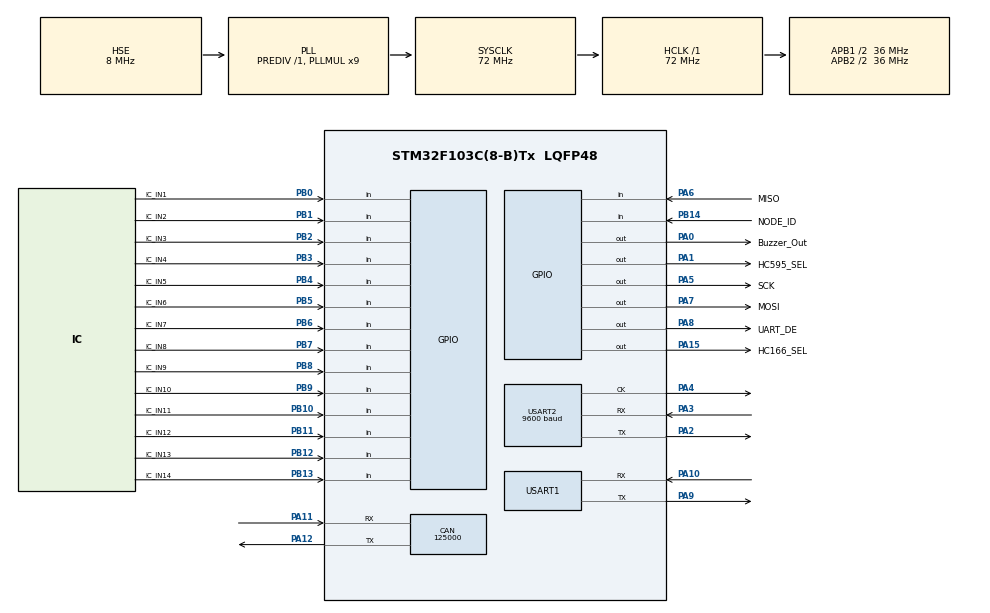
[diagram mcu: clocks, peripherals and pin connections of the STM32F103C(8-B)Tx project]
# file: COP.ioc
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CAN.BS1=CAN_BS1_15TQ
CAN.BS2=CAN_BS2_2TQ
CAN.CalculateBaudRate=125000
CAN.CalculateTimeBit=8000
CAN.CalculateTimeQuantum=444.44444444444446
CAN.NART=ENABLE
Dma.Request0=USART2_TX
Dma.USART2_TX.0.Direction=DMA_MEMORY_TO_PERIPH
Dma.USART2_TX.0.Instance=DMA1_Channel7
Dma.USART2_TX.0.MemDataAlignment=DMA_MDATAALIGN_BYTE
Dma.USART2_TX.0.MemInc=DMA_MINC_ENABLE
Dma.USART2_TX.0.Mode=DMA_NORMAL
Dma.USART2_TX.0.PeriphDataAlignment=DMA_PDATAALIGN_BYTE
Dma.USART2_TX.0.PeriphInc=DMA_PINC_DISABLE
Dma.USART2_TX.0.Priority=DMA_PRIORITY_LOW
Mcu.Family=STM32F1
Mcu.Name=STM32F103C(8-B)Tx
Mcu.Package=LQFP48
NVIC.CAN1_RX1_IRQn=true\:0\:0\:false\:false\:true\:true\:true
NVIC.CAN1_SCE_IRQn=true\:0\:0\:false\:false\:true\:true\:true
NVIC.DMA1_Channel7_IRQn=true\:0\:0\:false\:false\:true\:false\:true
NVIC.PriorityGroup=NVIC_PRIORITYGROUP_4
NVIC.TIM1_BRK_IRQn=true\:0\:0\:false\:false\:true\:true\:true
NVIC.TIM1_UP_IRQn=true\:0\:0\:false\:false\:true\:true\:true
NVIC.TIM2_IRQn=true\:0\:0\:false\:false\:true\:true\:true
NVIC.USART2_IRQn=true\:0\:0\:false\:false\:true\:true\:true
NVIC.USB_HP_CAN1_TX_IRQn=true\:0\:0\:false\:false\:true\:true\:true
NVIC.USB_LP_CAN1_RX0_IRQn=true\:0\:0\:false\:false\:true\:true\:true
PA0-WKUP.GPIO_Label=Buzzer_Out
PA0-WKUP.Signal=GPIO_Output
PA1.GPIO_Label=HC595_SEL
PA1.Signal=GPIO_Output
PA10.Mode=Asynchronous
PA10.Signal=USART1_RX
PA11.Mode=CAN_Activate
PA11.Signal=CAN_RX
PA12.Mode=CAN_Activate
PA12.Signal=CAN_TX
PA13.Mode=Serial_Wire
PA13.Signal=SYS_JTMS-SWDIO
PA14.Mode=Serial_Wire
PA14.Signal=SYS_JTCK-SWCLK
PA15.GPIO_Label=HC166_SEL
PA15.Signal=GPIO_Output
PA2.Mode=Synchronous
PA2.Signal=USART2_TX
PA3.Mode=Synchronous
PA3.Signal=USART2_RX
PA4.Mode=Synchronous
PA4.Signal=USART2_CK
PA5.GPIO_Label=SCK
PA5.GPIO_Speed=GPIO_SPEED_FREQ_HIGH
PA5.Signal=GPIO_Output
PA6.GPIO_Label=MISO
PA6.Signal=GPIO_Input
PA7.GPIO_Label=MOSI
PA7.Signal=GPIO_Output
PA8.GPIO_Label=UART_DE
PA8.Signal=GPIO_Output
PA9.Mode=Asynchronous
PA9.Signal=USART1_TX
PB0.GPIO_Label=IC_IN1
PB0.Signal=GPIO_Input
PB1.GPIO_Label=IC_IN2
PB1.Signal=GPIO_Input
PB10.GPIO_Label=IC_IN11
PB10.Signal=GPIO_Input
PB11.GPIO_Label=IC_IN12
PB11.Signal=GPIO_Input
PB12.GPIO_Label=IC_IN13
PB12.Signal=GPIO_Input
PB13.GPIO_Label=IC_IN14
PB13.Signal=GPIO_Input
PB14.GPIO_Label=NODE_ID
PB14.GPIO_PuPd=GPIO_PULLUP
PB14.Signal=GPIO_Input
PB2.GPIO_Label=IC_IN3
PB2.Signal=GPIO_Input
PB3.GPIO_Label=IC_IN4
PB3.Signal=GPIO_Input
PB4.GPIO_Label=IC_IN5
PB4.Signal=GPIO_Input
PB5.GPIO_Label=IC_IN6
PB5.Signal=GPIO_Input
PB6.GPIO_Label=IC_IN7
PB6.Signal=GPIO_Input
PB7.GPIO_Label=IC_IN8
PB7.Signal=GPIO_Input
PB8.GPIO_Label=IC_IN9
PB8.Signal=GPIO_Input
PB9.GPIO_Label=IC_IN10
PB9.Signal=GPIO_Input
PD0-OSC_IN.Mode=HSE-External-Oscillator
PD0-OSC_IN.Signal=RCC_OSC_IN
PD1-OSC_OUT.Mode=HSE-External-Oscillator
PD1-OSC_OUT.Signal=RCC_OSC_OUT
ProjectManager.HeapSize=0x2000
ProjectManager.StackSize=0x4000
ProjectManager.TargetToolchain=STM32CubeIDE
RCC.AHBFreq_Value=72000000
RCC.APB1CLKDivider=RCC_HCLK_DIV2
RCC.APB1Freq_Value=36000000
RCC.APB1TimFreq_Value=72000000
RCC.APB2CLKDivider=RCC_HCLK_DIV2
RCC.APB2Freq_Value=36000000
RCC.APB2TimFreq_Value=72000000
RCC.HCLKFreq_Value=72000000
RCC.PLLMUL=RCC_PLL_MUL9
RCC.PLLSourceVirtual=RCC_PLLSOURCE_HSE
RCC.SYSCLKFreq_VALUE=72000000
RCC.SYSCLKSource=RCC_SYSCLKSOURCE_PLLCLK
RCC.USBFreq_Value=72000000
TIM1.Period=99
TIM1.Prescaler=7199
TIM2.Period=4999
TIM2.Prescaler=7199
TIM3.Prescaler=71
USART1.VirtualMode=VM_ASYNC
USART2.BaudRate=9600
USART2.CLKPhase=USART_PHASE_2EDGE
USART2.VirtualMode=VM_SYNC
VP_TIM1_VS_ClockSourceINT.Mode=Internal
VP_TIM2_VS_ClockSourceINT.Mode=Internal
VP_TIM3_VS_ClockSourceINT.Mode=Internal
board=custom

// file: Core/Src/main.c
/* USER CODE BEGIN Header */
/**
  ******************************************************************************
  * @file           : main.c
  * @brief          : Main program body
  ******************************************************************************
  * @attention
  *
  * <h2><center>&copy; Copyright (c) 2021 STMicroelectronics.
  * All rights reserved.</center></h2>
  *
  * This software component is licensed by ST under BSD 3-Clause license,
  * the "License"; You may not use this file except in compliance with the
  * License. You may obtain a copy of the License at:
  *                        opensource.org/licenses/BSD-3-Clause
  *
  ******************************************************************************
  */
/* USER CODE END Header */
#include "main.h"

/* USER CODE BEGIN Includes */
#define	_MAIN_C_
#include "AllHeader.h"
#include "flash.h"
#include "stdio.h"
#include "stdlib.h"
/* USER CODE END Includes */

/* USER CODE BEGIN PD */
#define MAXLONGVALUE 2000000000;
#define MAXKEYBUFF          	2
#define KEYTIMOUT            1500				//ms
#define LEDTIMEOUT     500						//ms

#define USER_DEBUG 0

int Keytimout = INT32_MAX;
uint32_t lastest_call_time;
int LedOfftimout = INT32_MAX;

/* USER CODE END PD */

CAN_HandleTypeDef hcan;

TIM_HandleTypeDef htim1;
TIM_HandleTypeDef htim2;
TIM_HandleTypeDef htim3;

UART_HandleTypeDef huart1;
USART_HandleTypeDef husart2;
DMA_HandleTypeDef hdma_usart2_tx;

void SystemClock_Config(void);
static void MX_GPIO_Init(void);
static void MX_CAN_Init(void);
static void MX_TIM1_Init(void);
static void MX_TIM2_Init(void);
static void MX_USART1_UART_Init(void);
static void MX_TIM3_Init(void);
static void MX_DMA_Init(void);
static void MX_USART2_Init(void);

/* USER CODE BEGIN 0 */
uint8_t instate[MAX_IN_BYTE];
uint8_t instate_Pre[MAX_IN_BYTE];
uint32_t inold_Pre;
uint8_t help;
uint8_t virt_key[2] = {0,0};
uint8_t virt_key_cnt =0;

uint32_t TIM1_inter,TIM2_inter;
uint32_t TIM1_inter_store,TIM2_inter_store;
uint32_t time10ms,time500ms =0;
char FloorName[TOTAL_FLOOR][2] ={0};
char IOName[13] ={'0','1','2','3','4','5','6','7','8','9','G','B','C'};

uint8_t targetfloor =0;
uint8_t targetfloor_reg =0;
uint16_t Led_virt = 0xFFFF;

static uint32_t time1_cnt = 0;

uint32_t inspection_time;
void HAL_TIM_PeriodElapsedCallback(TIM_HandleTypeDef *htim)
{
	uint8_t i = 0;

	static uint32_t time0_cnt = 0;
	static uint32_t reloadtime =0;
	if(htim->Instance == htim1.Instance)
	{
		bTime.Time_10ms = 1;
		time1_cnt++;
		time10ms = HAL_GetTick() - reloadtime;
		reloadtime = HAL_GetTick();
		Keytimout --;
		LedOfftimout --;
		if((time1_cnt % 10) == 0)
			{//100ms
				bTime.Time_100ms = 1;
				if (bBusOffTimer)
					-- bBusOffTimer;
				else
					{
						if(bFunc.buz_set_id)
							{
								Disable_BUZ();
								bFunc.buz_set_id = 0;
							}
					}
			}
		if((time1_cnt % 200) == 0)
			bTime.Time_2s = 1;
	}
	else if(htim->Instance == htim2.Instance)
	{
					bTime.Time_500ms = true;
					bTime.flash_floor_500ms = true;
					time0_cnt++;

					if (!nmtstate)						// only during Boot up
						{
							if (nmtwait)					// waiting time for first heartbeat
								nmtwait--;
						}
					if (heartbeat)						// decrement heartbeat timer
						heartbeat--;

					if (sdo_timer)			// check for SDO transfer time out
						sdo_timer--;
					if (hsetime)
						{
							hsetime--;
							if (!hsetime) 		// HSE heartbeat time out
								bFunc.hsecheck = true; 	// HSE check necessary
						}
					if((time0_cnt % 10) == 0)
						bTime.Time_5s = 1;
					if(att_alarm_timer)
						{
							--att_alarm_timer;
							if(!att_alarm_timer)
								{
									if(bTime.Time_alarm_fg)
										buzzer &= ~BUZ_WORKING;
									bFunc.buz_state = !bFunc.buz_state;
								}
						}
					if(buz_alarm_totaltimer)
						--buz_alarm_totaltimer;

					for (i = 0; i < mInOut_Number; i++)
						{// search output parameter list
							if (outpar [i][IO_BASIC_FUNC] == ARRIVAL_INDICATION)
							if (outpar [i][IO_ACK])
								{// arrival indication is on, ������������ź�
									outpar [i][IO_ACK]--; 			//decrement time counter
									if (!outpar [i][IO_ACK])		//time out
										{
											bit_reset (out[i/8], i % 8);			// switch off output
											outpar [i][IO_STATE] = 0;
										}
								}
						}

	}
}
void check_hse (uint8_t mode){
	uint8_t help;
	uint8_t i;

	help = 0;
	if (!hsetime)								/* 5s no heartbeat from HSE				*/
		{
			help = 1;
			hsetime  = HSETIME;						/* restart HSE heartbeat timer			*/
			display[BUF_TEN] = 'N';			//A_BETR;
			display[BUF_UNIT] = 'C';		//A_BETR;
			display[BUF_ARROW] = 0;
			display[BUF_MESSAGE] = 0;
			hse_heartbeat = 0;
			mDisp_buf[BUF_TEN + 1] = display[BUF_TEN];
			mDisp_buf[BUF_UNIT + 1] = display[BUF_UNIT];
			mDisp_buf[BUF_ARROW + 1] = display[BUF_ARROW];
		}

	if (help && mode)											/* one or more HSE not available		*/
		{
			for (i = 0; i < mInOut_Number; i++)					/* check all call indications			*/
				{
					if (check_for_call (outpar [i][IO_BASIC_FUNC]))
						{											/* output is call acknowledgement		*/
				  		outpar [i][IO_ACK] &= ~help;
							if (!outpar [i][IO_ACK])				/* all acknowledgements cancelled		*/
								{
									bit_reset (out[i/8], i%8);					/* clear output							*/
									outpar [i][IO_STATE] = 0;
								}
						}
					else										/* all other output functions			*/
						{
							if (outpar [i][IO_LIFT] & help)			/* output for this lift					*/
								{
									if ((outpar [i][IO_BASIC_FUNC] == SPECIAL_FUNC) &&
									    (outpar [i][IO_SUB_FUNC]	  == OUT_OF_ORDER))
										{
											bit_set (out[i/8], i%8);				/* set physical output					*/
					 						outpar [i][IO_STATE] = 1;
										}
									else
										{
											bit_reset (out[i/8], i%8);				/* reset physical output				*/
											outpar [i][IO_STATE] = 0;
										}
								}
						}
				}
		}
}
void ClrWdt (void)
{
#if ! USER_DEBUG
	HAL_IWDG_Refresh(&hiwdg);
	HAL_WWDG_Refresh(&hwwdg);
#endif
}
int Find_target_Floor(int len)
{
	if(len ==1)
	{
		virt_key[1] = virt_key[0];
		virt_key[0] = 0;
	}
	else
	{
		if(virt_key[0] == '0')
			virt_key[0] =0;
	}
	for(int icc=0;icc<TOTAL_FLOOR;icc++)
	{
		if((FloorName[icc][0] == virt_key[0]) && (FloorName[icc][1] == virt_key[1]) )
		{
			targetfloor = icc+1;
			return targetfloor;
		}
	}
	return -1;
}
uint8_t checkwatchdog =0;
/* USER CODE END 0 */

int main(void)
{

  /* MCU Configuration--------------------------------------------------------*/

  /* Reset of all peripherals, Initializes the Flash interface and the Systick. */
  HAL_Init();

  /* Configure the system clock */
  SystemClock_Config();

  /* Initialize all configured peripherals */
  MX_GPIO_Init();
  MX_CAN_Init();
  MX_TIM1_Init();
  MX_TIM2_Init();
  MX_USART1_UART_Init();
  MX_TIM3_Init();
  MX_DMA_Init();
  MX_USART2_Init();
  /* USER CODE BEGIN 2 */
  USART2_TX_LOW;
 uint8_t data[2] ={0xB0,0};
 HAL_TIM_Base_Start(&htim3);
  while(1)
  {
	  //HAL_USART_Transmit(&husart2, &data, 1, 10);
//	  husart2.Instance->DR =0xB0;
//	  mDisp_buf[1] = 'B';
//	  mDisp_buf[2] = '1';
//	  mDisp_buf[3] = 0;
	  Display_device();
	  HAL_Delay(50);
  }
  ClrWdt();							//reset watchdog timer
  Flash_Read_Bytes((uint8_t *)&FloorName, DATA_START_ADDRESS, sizeof(FloorName));
  __HAL_DBGMCU_FREEZE_WWDG();
  __HAL_DBGMCU_FREEZE_IWDG();
 	//Flash_ReadChar(data,DATA_START_ADDRESS,LENGTH_START_ADDRESS);

  mMax_InByte =3;
  memset((void*)out,0xFF,8);
  Led_virt = 0xFFFF;
  Out_Prog();
  for(int ct =0;ct<200;ct++)
  {
		  ClrWdt ();
		  HAL_Delay(1);
  }

  memset((void*)out,0x00,8);
  Led_virt = 0x00;
  Out_Prog();
  	uint8_t i, j;

	if (merker == RC_MERKER)									// restart by after Rx counter error
		{
			errorregister |= ER_COMMUNICATION;						// set error bits
		}
	nmtstate  	= BOOT_UP;		// set CAN NMT state to Boot up
	nmtwait = 2;	// waiting time to 1. heartbeat in INI-Mode waiting time	1s

	hsetime = HSETIME;
	for(i = 0; i < MAX_IN_BYTE; i++)
	{
		out[i] = 0;
		in[i] = 0x00;
		input[0][i] = 0x00;
		input[1][i] = 0x00;
		input[2][i] = 0x00;
		inold[i] = 0x00;
		instate[i] = 0;
		in_polarity[i] = 0;
		out_polarity[i] = 0;
	}
	for (i = 0; i < MAX_IN; i++)
	{
		inpar  [i][IO_STATE] = 0;
		outpar [i][IO_STATE] = 0;
		inpar  [i][IO_BASIC_FUNC] = 0;
		outpar [i][IO_BASIC_FUNC] = 0;
		outpar [i][IO_ACK] = 0;
	}
	for(i = 0; i < 4; i++)
		display[i] = 0;
	for(i = 0; i < 5; i++)
		mDisp_buf[i] = 0;

	mArrow_State = 0;
	mExtern_Number = 0;
	HAL_TIM_Base_Start_IT(&htim1);
	HAL_TIM_Base_Start_IT(&htim2);
	while (nmtwait)				// waiting time to 1. heartbeat
		{
		 ClrWdt();							//reset watchdog timer
			if(bTime.Time_10ms)
				{
					ReadInput();
					bTime.Time_10ms = 0;
				}
		}
	node_id = Get_NodeID();

	Init_Can();

	heartbeat = HEARTBEAT_TIME;

	nmtstate = PRE_OP;						// set state pre-operational
	disp_lift = LIFT1;

	while (nmtstate == PRE_OP)
	{//�ȴ������������ָ��
		ClrWdt ();
		if (rc)					// Message in receive buffer
			read_rx ();		// read and handle message
		if (sdo_index && !sdo_timer)
			{// SDO segment transfer time out
				sdo_index = 0;
				abort_sdo (SDO_TIMEOUT);						//send SDO abort request
			}

		if (bFunc.hsecheck)
			{// HSE heartbeat check necessary
				bFunc.hsecheck = false;
				check_hse (0);									// check if a HSE is not available
			}
		if ((!heartbeat) && (hse_heartbeat) && (!bBusOffTimer))	//time to send heartbeat message
			{
				heartbeat = HEARTBEAT_TIME;
				CAN_transmit_heartbeat();
			}

		if (errorcode)
			{// error occured
				transmit_error ();	// send emergency message
				errorregister = 0;	// reset error
				errorcode = 0;
			}
		if ((merker == BS_MERKER) && (!bBusOffTimer))
			{
				Init_Can();
				errorregister |= ER_COMMUNICATION;			// set error bits
				errorcode = E_BUS_OFF_A;									// set error code
				merker = 0;
			}
		if(nmtstate == TEST_MODE)
			{
				test_mode();
			}
	}
	hsetime = HSETIME ;		//start timer with different times
	bFunc.hsecheck = false;					//no HSE check now
	ClrWdt();							//reset watchdog timer

	mInOut_Number = (mExtern_Number * 16 + 22) % (MAX_IN + 1);
	mMax_InByte = (mInOut_Number >> 3) + 1;

	set_io_config ();
	Arrow_Status();
	int cntt =0;
  /* USER CODE END 2 */

  /* Infinite loop */
  /* USER CODE BEGIN WHILE */
  while (1)
  {
	  ClrWdt();							//reset watchdog timer
	  if(checkwatchdog)
	  {
		  while(1);
	  }
		if (rc)													// Message in receive buffer
			read_rx ();										// read and handle message
		if ((!heartbeat) && (hse_heartbeat) && (!bBusOffTimer))	//time to send heartbeat message
			{// time to send heartbeat message
				heartbeat = HEARTBEAT_TIME;
				CAN_transmit_heartbeat();
			}
		if (bFunc.hsecheck)
			{// HSE heartbeat check necessary
				bFunc.hsecheck = false;
				check_hse (1);									// check if a HSE is not available
			}

		if(bTime.Time_100ms)
			{
				Display_device();			//100ms ����һ����ʾ��Ϣ
				if(!(buzzer & BUZ_WORKING))
					Disable_BUZ();
				else if(buzzer & BUZ_PULSE)
					{
						if(bFunc.buz_state)
							Enable_BUZ();
						else if(!att_alarm_timer)
							{
								Disable_BUZ();
								att_alarm_timer = buz_alarm_timer;
							}
						if(!buz_alarm_totaltimer)
							buzzer &= !(BUZ_WORKING | BUZ_PULSE);
					}
				else
					Enable_BUZ();
				bTime.Time_100ms = 0;
			}
		if(bTime.Time_2s)
			{
				Arrow_Status();
				bTime.Time_2s = 0;
			}
		if(bTime.Time_10ms)
			{
				ReadInput();		//��ȡ���еİ�ť����
				Out_Prog(); 					//�������е����(������ʾ���)
				bTime.Time_10ms = 0;
			}

		for(i = 0; i < mMax_InByte; i++)
			instate[i] = in[i] ^ in_polarity[i];		// read input state; invert if desired
//		instate[0] = (instate_Pre[0] & 0x3);      //close and openbutton
//		uint16_t keytmp = (uint16_t)((instate_Pre[0] | ((uint16_t)instate_Pre[1]<<8)) >>2); //BTN start IN3
//		if(inold_Pre != keytmp)
//		{
//			for (i = 0; i < 16; i++)
//			{
//				if((!(keytmp>>i)&0x01) && ((inold_Pre>>i) &0x01))   //now 0,pre 1
//				{
//						Led_virt = (Led_virt|(1<<(i+2))) & 0xFFFC;
//						virt_key[virt_key_cnt] = IOName[i];
//						virt_in [IO_BASIC_FUNC] = CAR_CALL;
//						virt_in [IO_SUB_FUNC] = 0xCC;
//						virt_in [IO_LIFT] = ~LIFT1;   //remove G664
//						virt_in [IO_FLOOR] = 0;
//						virt_in [IO_DOOR] = 0;
//						virt_in [IO_STATE] = virt_key[virt_key_cnt];
//						virt_in [IO_ENABLE] = 0;
//						virt_in [IO_ACK] = 0;
//
//						transmit_in (virt_in);  //tran first package
//						virt_key_cnt++ ;
//						if ( virt_key_cnt == 2 )
//						{
//							Keytimout = -1;
//						}
//						else
//						{
//							Keytimout = KEYTIMOUT/10;
//							inspection_time = HAL_GetTick();
//						}
//						if(IOName[i] == 'C')
//						{
//							Keytimout = -1;
//						}
//
//				}
//			}
//			inold_Pre = keytmp;
//		}
//		if(LedOfftimout <0)
//		{
//			Led_virt = 0x00;
//			LedOfftimout = INT32_MAX;
//		}
//		if(Keytimout <= 0)
//		{
//			inspection_time = HAL_GetTick() - inspection_time;
//			if((virt_key[0] != 'C') && (virt_key[1] != 'C'))
//			{
//				targetfloor = Find_target_Floor(virt_key_cnt);
//				if((targetfloor !=  0) && (targetfloor <= TOTAL_FLOOR))
//				{
//
//					for ( cntt = 0; cntt < mInOut_Number; cntt++)
//					{
//						if (inpar [cntt][IO_BASIC_FUNC] == CAR_CALL)
//						{
//							if(inpar [cntt][IO_SUB_FUNC] == targetfloor)
//							{
//
//								bit_set(instate[cntt/8],cntt%8);
//								lastest_call_time = time1_cnt + KEYTIMOUT/10;
//								break;
//							}
//
//						}
//					}
//					if(cntt == mInOut_Number)
//					{
//						cntt = -1;
//					}
//				}
//			}
//			else
//			{
//				if(virt_key[0] == 'C')
//				{
//					//del target_floor_reg
//					if(time1_cnt < lastest_call_time)
//					{
//						targetfloor = targetfloor_reg;
//					}
//				}
//				else if(virt_key[1] == 'C')
//				{
//					//del target_floor virt_key[1]
//					virt_key_cnt =1;
//					targetfloor = Find_target_Floor(virt_key_cnt);
//				}
//				if(targetfloor>0)
//				{
//					uint8_t outindex ;
//					for ( outindex = 0; outindex < mInOut_Number; outindex++)
//					{
//						if (outpar [outindex][IO_BASIC_FUNC] == CAR_CALL)
//						{
//							if(outpar [outindex][IO_SUB_FUNC] == targetfloor)
//							{
//								break;
//							}
//
//						}
//					}
//					if(outindex != mInOut_Number)
//					{
//						if( bit_select(out[outindex/8],outindex%8))	//alread call
//						{
//							for ( cntt = 0; cntt < mInOut_Number; cntt++)
//							{
//								if (inpar [cntt][IO_BASIC_FUNC] == CAR_CALL)
//								{
//									if(inpar [cntt][IO_SUB_FUNC] == targetfloor)
//									{
//										bit_set(instate[cntt/8],cntt%8);
//										for (j = 0; j < MAX_IO_TYPE; j++)					// write input to virtual input object
//												virt_in [j] = inpar [cntt][j];
//										transmit_in (virt_in);  //tran first package
//										break;
//									}
//
//								}
//							}
//						}
//					}
//				}
//			}
//			virt_key_cnt =0;
//			Keytimout = MAXLONGVALUE;
//			LedOfftimout = LEDTIMEOUT/10;
//			virt_key[0] = 0;
//			virt_key[1] = 0;
//		}
		if (Check_InChange(instate, inold))					// input state changed
			{
				for (i = 0; i < mInOut_Number; i++)
					{// check all inputs
						help = bit_select (instate[i/8], i%8);
						if (help != bit_select (inold[i/8], i%8))
							{// input has changed
								inpar [i][IO_STATE] = help;					// set input state
								if (inpar [i][IO_BASIC_FUNC])				// input has a function
									{
										for (j = 0; j < MAX_IO_TYPE; j++)					// write input to virtual input object
											virt_in [j] = inpar [i][j];
										switch (inpar [i][IO_BASIC_FUNC])
											{
												case (CAR_CALL):						// standard car call
													if (help)
													{
														transmit_in (virt_in);
//														bit_reset(instate[i/8],i%8);
//														if(cntt >= 0)
//														{
//															bit_reset(instate[cntt/8],cntt%8);
//															targetfloor_reg = targetfloor;
//															targetfloor = -1;
//														}

													}
													break;

												case (HALL_CALL):						// standard hall call
													if (help)
														{// landing call misuse
															transmit_in (virt_in);
														}
													break;

												case (LOAD_IN):							// load measurement input
													transmit_load ();
													break;

												default:
													transmit_in (virt_in);
													break;
											}
				 					}
							}
					}
				for(i=0; i<mMax_InByte; i++)
					inold[i] = instate[i];
			}
    /* USER CODE END WHILE */

  }
}

void SystemClock_Config(void)
{
  RCC_OscInitTypeDef RCC_OscInitStruct = {0};
  RCC_ClkInitTypeDef RCC_ClkInitStruct = {0};

  /** Initializes the RCC Oscillators according to the specified parameters
  * in the RCC_OscInitTypeDef structure.
  */
  RCC_OscInitStruct.OscillatorType = RCC_OSCILLATORTYPE_HSE;
  RCC_OscInitStruct.HSEState = RCC_HSE_ON;
  RCC_OscInitStruct.HSEPredivValue = RCC_HSE_PREDIV_DIV1;
  RCC_OscInitStruct.HSIState = RCC_HSI_ON;
  RCC_OscInitStruct.PLL.PLLState = RCC_PLL_ON;
  RCC_OscInitStruct.PLL.PLLSource = RCC_PLLSOURCE_HSE;
  RCC_OscInitStruct.PLL.PLLMUL = RCC_PLL_MUL9;
  if (HAL_RCC_OscConfig(&RCC_OscInitStruct) != HAL_OK)
  {
    Error_Handler();
  }
  /** Initializes the CPU, AHB and APB buses clocks
  */
  RCC_ClkInitStruct.ClockType = RCC_CLOCKTYPE_HCLK|RCC_CLOCKTYPE_SYSCLK
                              |RCC_CLOCKTYPE_PCLK1|RCC_CLOCKTYPE_PCLK2;
  RCC_ClkInitStruct.SYSCLKSource = RCC_SYSCLKSOURCE_PLLCLK;
  RCC_ClkInitStruct.AHBCLKDivider = RCC_SYSCLK_DIV1;
  RCC_ClkInitStruct.APB1CLKDivider = RCC_HCLK_DIV2;
  RCC_ClkInitStruct.APB2CLKDivider = RCC_HCLK_DIV2;

  if (HAL_RCC_ClockConfig(&RCC_ClkInitStruct, FLASH_LATENCY_2) != HAL_OK)
  {
    Error_Handler();
  }
}

static void MX_CAN_Init(void)
{

  hcan.Instance = CAN1;
  hcan.Init.Prescaler = 16;
  hcan.Init.Mode = CAN_MODE_NORMAL;
  hcan.Init.SyncJumpWidth = CAN_SJW_1TQ;
  hcan.Init.TimeSeg1 = CAN_BS1_15TQ;
  hcan.Init.TimeSeg2 = CAN_BS2_2TQ;
  hcan.Init.TimeTriggeredMode = DISABLE;
  hcan.Init.AutoBusOff = DISABLE;
  hcan.Init.AutoWakeUp = DISABLE;
  hcan.Init.AutoRetransmission = ENABLE;
  hcan.Init.ReceiveFifoLocked = DISABLE;
  hcan.Init.TransmitFifoPriority = DISABLE;
  if (HAL_CAN_Init(&hcan) != HAL_OK)
  {
    Error_Handler();
  }

}

static void MX_TIM1_Init(void)
{

  TIM_ClockConfigTypeDef sClockSourceConfig = {0};
  TIM_MasterConfigTypeDef sMasterConfig = {0};

  htim1.Instance = TIM1;
  htim1.Init.Prescaler = 7199;
  htim1.Init.CounterMode = TIM_COUNTERMODE_UP;
  htim1.Init.Period = 99;
  htim1.Init.ClockDivision = TIM_CLOCKDIVISION_DIV1;
  htim1.Init.RepetitionCounter = 0;
  htim1.Init.AutoReloadPreload = TIM_AUTORELOAD_PRELOAD_DISABLE;
  if (HAL_TIM_Base_Init(&htim1) != HAL_OK)
  {
    Error_Handler();
  }
  sClockSourceConfig.ClockSource = TIM_CLOCKSOURCE_INTERNAL;
  if (HAL_TIM_ConfigClockSource(&htim1, &sClockSourceConfig) != HAL_OK)
  {
    Error_Handler();
  }
  sMasterConfig.MasterOutputTrigger = TIM_TRGO_RESET;
  sMasterConfig.MasterSlaveMode = TIM_MASTERSLAVEMODE_DISABLE;
  if (HAL_TIMEx_MasterConfigSynchronization(&htim1, &sMasterConfig) != HAL_OK)
  {
    Error_Handler();
  }

}

static void MX_TIM2_Init(void)
{

  TIM_ClockConfigTypeDef sClockSourceConfig = {0};
  TIM_MasterConfigTypeDef sMasterConfig = {0};

  htim2.Instance = TIM2;
  htim2.Init.Prescaler = 7199;
  htim2.Init.CounterMode = TIM_COUNTERMODE_UP;
  htim2.Init.Period = 4999;
  htim2.Init.ClockDivision = TIM_CLOCKDIVISION_DIV1;
  htim2.Init.AutoReloadPreload = TIM_AUTORELOAD_PRELOAD_DISABLE;
  if (HAL_TIM_Base_Init(&htim2) != HAL_OK)
  {
    Error_Handler();
  }
  sClockSourceConfig.ClockSource = TIM_CLOCKSOURCE_INTERNAL;
  if (HAL_TIM_ConfigClockSource(&htim2, &sClockSourceConfig) != HAL_OK)
  {
    Error_Handler();
  }
  sMasterConfig.MasterOutputTrigger = TIM_TRGO_RESET;
  sMasterConfig.MasterSlaveMode = TIM_MASTERSLAVEMODE_DISABLE;
  if (HAL_TIMEx_MasterConfigSynchronization(&htim2, &sMasterConfig) != HAL_OK)
  {
    Error_Handler();
  }

}

static void MX_TIM3_Init(void)
{

  TIM_ClockConfigTypeDef sClockSourceConfig = {0};
  TIM_MasterConfigTypeDef sMasterConfig = {0};

  htim3.Instance = TIM3;
  htim3.Init.Prescaler = 71;
  htim3.Init.CounterMode = TIM_COUNTERMODE_UP;
  htim3.Init.Period = 65535;
  htim3.Init.ClockDivision = TIM_CLOCKDIVISION_DIV1;
  htim3.Init.AutoReloadPreload = TIM_AUTORELOAD_PRELOAD_DISABLE;
  if (HAL_TIM_Base_Init(&htim3) != HAL_OK)
  {
    Error_Handler();
  }
  sClockSourceConfig.ClockSource = TIM_CLOCKSOURCE_INTERNAL;
  if (HAL_TIM_ConfigClockSource(&htim3, &sClockSourceConfig) != HAL_OK)
  {
    Error_Handler();
  }
  sMasterConfig.MasterOutputTrigger = TIM_TRGO_RESET;
  sMasterConfig.MasterSlaveMode = TIM_MASTERSLAVEMODE_DISABLE;
  if (HAL_TIMEx_MasterConfigSynchronization(&htim3, &sMasterConfig) != HAL_OK)
  {
    Error_Handler();
  }

}

static void MX_USART1_UART_Init(void)
{

  huart1.Instance = USART1;
  huart1.Init.BaudRate = 115200;
  huart1.Init.WordLength = UART_WORDLENGTH_8B;
  huart1.Init.StopBits = UART_STOPBITS_1;
  huart1.Init.Parity = UART_PARITY_NONE;
  huart1.Init.Mode = UART_MODE_TX_RX;
  huart1.Init.HwFlowCtl = UART_HWCONTROL_NONE;
  huart1.Init.OverSampling = UART_OVERSAMPLING_16;
  if (HAL_UART_Init(&huart1) != HAL_OK)
  {
    Error_Handler();
  }

}

static void MX_USART2_Init(void)
{

  husart2.Instance = USART2;
  husart2.Init.BaudRate = 9600;
  husart2.Init.WordLength = USART_WORDLENGTH_8B;
  husart2.Init.StopBits = USART_STOPBITS_1;
  husart2.Init.Parity = USART_PARITY_NONE;
  husart2.Init.Mode = USART_MODE_TX_RX;
  husart2.Init.CLKPolarity = USART_POLARITY_LOW;
  husart2.Init.CLKPhase = USART_PHASE_2EDGE;
  husart2.Init.CLKLastBit = USART_LASTBIT_DISABLE;
  if (HAL_USART_Init(&husart2) != HAL_OK)
  {
    Error_Handler();
  }

}

static void MX_DMA_Init(void)
{

  /* DMA controller clock enable */
  __HAL_RCC_DMA1_CLK_ENABLE();

  /* DMA interrupt init */
  /* DMA1_Channel7_IRQn interrupt configuration */
  HAL_NVIC_SetPriority(DMA1_Channel7_IRQn, 0, 0);
  HAL_NVIC_EnableIRQ(DMA1_Channel7_IRQn);

}

static void MX_GPIO_Init(void)
{
  GPIO_InitTypeDef GPIO_InitStruct = {0};

  /* GPIO Ports Clock Enable */
  __HAL_RCC_GPIOD_CLK_ENABLE();
  __HAL_RCC_GPIOA_CLK_ENABLE();
  __HAL_RCC_GPIOB_CLK_ENABLE();

  /*Configure GPIO pin Output Level */
  HAL_GPIO_WritePin(GPIOA, Buzzer_Out_Pin|HC595_SEL_Pin|SCK_Pin|MOSI_Pin
                          |UART_DE_Pin|HC166_SEL_Pin, GPIO_PIN_RESET);

  /*Configure GPIO pins : Buzzer_Out_Pin HC595_SEL_Pin MOSI_Pin UART_DE_Pin
                           HC166_SEL_Pin */
  GPIO_InitStruct.Pin = Buzzer_Out_Pin|HC595_SEL_Pin|MOSI_Pin|UART_DE_Pin
                          |HC166_SEL_Pin;
  GPIO_InitStruct.Mode = GPIO_MODE_OUTPUT_PP;
  GPIO_InitStruct.Pull = GPIO_NOPULL;
  GPIO_InitStruct.Speed = GPIO_SPEED_FREQ_LOW;
  HAL_GPIO_Init(GPIOA, &GPIO_InitStruct);

  /*Configure GPIO pin : SCK_Pin */
  GPIO_InitStruct.Pin = SCK_Pin;
  GPIO_InitStruct.Mode = GPIO_MODE_OUTPUT_PP;
  GPIO_InitStruct.Pull = GPIO_NOPULL;
  GPIO_InitStruct.Speed = GPIO_SPEED_FREQ_HIGH;
  HAL_GPIO_Init(SCK_GPIO_Port, &GPIO_InitStruct);

  /*Configure GPIO pin : MISO_Pin */
  GPIO_InitStruct.Pin = MISO_Pin;
  GPIO_InitStruct.Mode = GPIO_MODE_INPUT;
  GPIO_InitStruct.Pull = GPIO_NOPULL;
  HAL_GPIO_Init(MISO_GPIO_Port, &GPIO_InitStruct);

  /*Configure GPIO pins : IC_IN1_Pin IC_IN2_Pin IC_IN3_Pin IC_IN11_Pin
                           IC_IN12_Pin IC_IN13_Pin IC_IN14_Pin IC_IN4_Pin
                           IC_IN5_Pin IC_IN6_Pin IC_IN7_Pin IC_IN8_Pin
                           IC_IN9_Pin IC_IN10_Pin */
  GPIO_InitStruct.Pin = IC_IN1_Pin|IC_IN2_Pin|IC_IN3_Pin|IC_IN11_Pin
                          |IC_IN12_Pin|IC_IN13_Pin|IC_IN14_Pin|IC_IN4_Pin
                          |IC_IN5_Pin|IC_IN6_Pin|IC_IN7_Pin|IC_IN8_Pin
                          |IC_IN9_Pin|IC_IN10_Pin;
  GPIO_InitStruct.Mode = GPIO_MODE_INPUT;
  GPIO_InitStruct.Pull = GPIO_NOPULL;
  HAL_GPIO_Init(GPIOB, &GPIO_InitStruct);

  /*Configure GPIO pin : NODE_ID_Pin */
  GPIO_InitStruct.Pin = NODE_ID_Pin;
  GPIO_InitStruct.Mode = GPIO_MODE_INPUT;
  GPIO_InitStruct.Pull = GPIO_PULLUP;
  HAL_GPIO_Init(NODE_ID_GPIO_Port, &GPIO_InitStruct);

}

void Error_Handler(void)
{
  __disable_irq();
  while (1)
  {
  }
}
